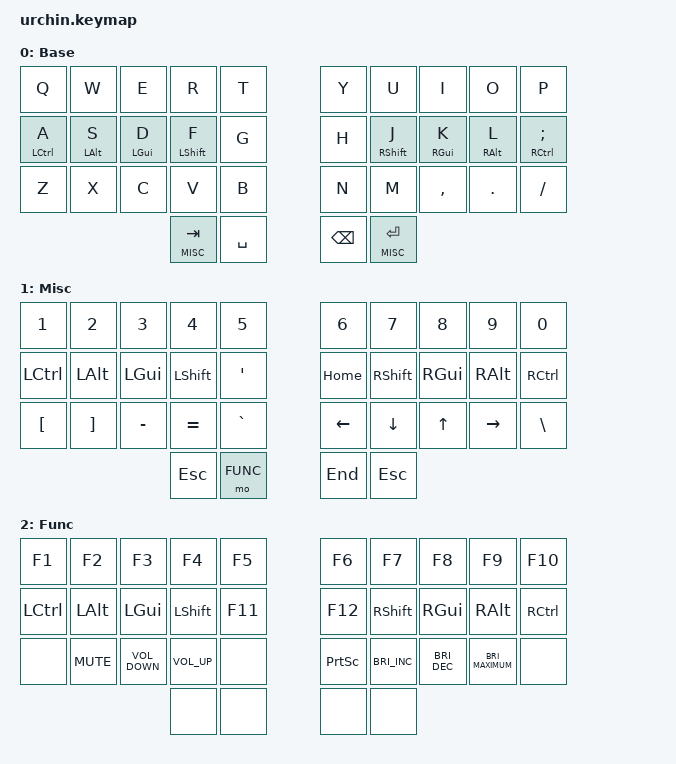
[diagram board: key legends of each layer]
/*
 * Copyright (c) 2020 duckyb
 *
 * SPDX-License-Identifier: MIT
 */

#include <behaviors.dtsi>
#include <dt-bindings/zmk/keys.h>

#define BASE 0
#define MISC 1
#define FUNC 2

&sk {
	// Don't release modifiers when another modifier is pressed.
	ignore-modifiers;
};

&mt {
	// Favor normal letter rolls while retaining deliberate modifier chords.
	flavor = "balanced";
	require-prior-idle-ms = <150>;
	tapping-term-ms = <250>;
	quick-tap-ms = <300>;
};

/ {
	behaviors {
		qt: quick_tap {
			compatible = "zmk,behavior-hold-tap";
			label = "QUICK_TAP";
			#binding-cells = <2>;
			flavor = "hold-preferred";
			tapping-term-ms = <200>;
			quick-tap-ms = <200>;
			bindings = <&kp>, <&kp>;
		};
	};

	macros {
		unstick: unstick {
			label = "ZM_unstick";
			compatible = "zmk,behavior-macro";
			#binding-cells = <0>;
			bindings = <&kp LSHIFT &kp RSHIFT &kp LCTRL &kp RCTRL &kp LALT &kp RALT &kp LGUI &kp RGUI>;
		};
	};

	combos {
		compatible = "zmk,combos";
		// Outer thumb keys provide a fast Escape chord on every layer.
		combo_escape {
			timeout-ms = <200>;
			key-positions = <30 33>;
			bindings = <&kp ESC>;
		};
		// Inner thumb keys provide a static recovery entry for Studio.
		combo_studio_unlock {
			timeout-ms = <200>;
			key-positions = <31 32>;
			bindings = <&studio_unlock>;
		};
	};

	keymap {
		compatible = "zmk,keymap";

		base_layer {
			label = "Base";
			bindings = <
			&kp Q &kp W &kp E &kp R &kp T              &kp Y &kp U &kp I &kp O &kp P
			&mt LCTRL A &mt LALT S &mt LGUI D &mt LSHIFT F &kp G  &kp H &mt RSHIFT J &mt RGUI K &mt RALT L &mt RCTRL SEMI
			&kp Z &kp X &kp C &kp V &kp B              &kp N &kp M &kp COMMA &kp DOT &kp FSLH
							&lt MISC TAB &kp SPACE              &kp BSPC &lt MISC ENTER
			>;
		};

		misc_layer {
			label = "Misc";
			bindings = <
			&kp N1 &kp N2 &kp N3 &kp N4 &kp N5             &kp N6 &kp N7 &kp N8 &kp N9 &kp N0
			&kp LCTRL &kp LALT &kp LGUI &kp LSHIFT &kp SQT  &kp HOME &kp RSHIFT &kp RGUI &kp RALT &kp RCTRL
			&kp LBKT &kp RBKT &kp MINUS &kp EQUAL &kp GRAVE  &kp LEFT &kp DOWN &kp UP &kp RIGHT &kp BSLH
							&kp ESC &mo FUNC                 &kp END &kp ESC
			>;
		};

		func_layer {
			label = "Func";
			bindings = <
			&kp F1 &kp F2 &kp F3 &kp F4 &kp F5               &kp F6 &kp F7 &kp F8 &kp F9 &kp F10
			&kp LCTRL &kp LALT &kp LGUI &kp LSHIFT &kp F11       &kp F12 &kp RSHIFT &kp RGUI &kp RALT &kp RCTRL
			&none &kp C_MUTE &kp C_VOLUME_DOWN &kp C_VOLUME_UP &none  &kp PRINTSCREEN &kp C_BRIGHTNESS_INC &kp C_BRIGHTNESS_DEC &kp C_BRIGHTNESS_MAXIMUM &none
							&none &none                   &none &none
			>;
		};
	};
};
